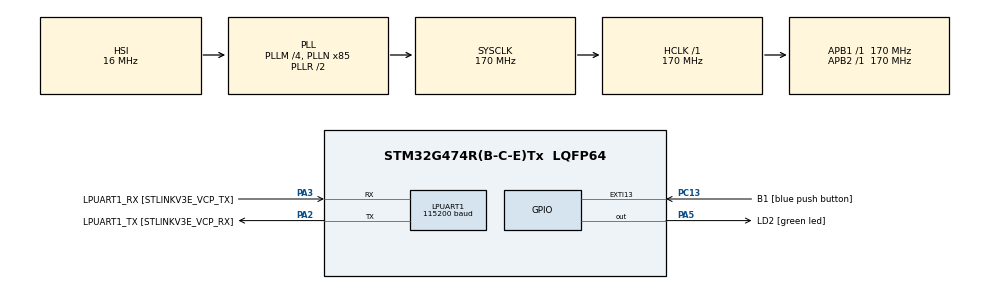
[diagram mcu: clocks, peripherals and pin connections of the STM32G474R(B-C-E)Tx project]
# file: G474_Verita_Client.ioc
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ADC1.Channel-0\#ChannelRegularConversion=ADC_CHANNEL_TEMPSENSOR_ADC1
ADC1.Channel-2\#ChannelRegularConversion=ADC_CHANNEL_VREFINT
ADC1.ClockPrescaler=ADC_CLOCK_ASYNC_DIV12
ADC1.ContinuousConvMode=ENABLE
ADC1.DMAContinuousRequests=ENABLE
ADC1.NbrOfConversion=2
ADC1.NbrOfConversionFlag=1
ADC1.OffsetNumber-0\#ChannelRegularConversion=ADC_OFFSET_NONE
ADC1.OffsetNumber-2\#ChannelRegularConversion=ADC_OFFSET_NONE
ADC1.Rank-0\#ChannelRegularConversion=1
ADC1.Rank-2\#ChannelRegularConversion=2
ADC1.SamplingTime-0\#ChannelRegularConversion=ADC_SAMPLETIME_247CYCLES_5
ADC1.SamplingTime-2\#ChannelRegularConversion=ADC_SAMPLETIME_47CYCLES_5
ADC1.master=1
Dma.ADC1.0.Direction=DMA_PERIPH_TO_MEMORY
Dma.ADC1.0.EventEnable=DISABLE
Dma.ADC1.0.Instance=DMA1_Channel1
Dma.ADC1.0.MemDataAlignment=DMA_MDATAALIGN_HALFWORD
Dma.ADC1.0.MemInc=DMA_MINC_ENABLE
Dma.ADC1.0.Mode=DMA_CIRCULAR
Dma.ADC1.0.PeriphDataAlignment=DMA_PDATAALIGN_HALFWORD
Dma.ADC1.0.PeriphInc=DMA_PINC_DISABLE
Dma.ADC1.0.Polarity=HAL_DMAMUX_REQ_GEN_RISING
Dma.ADC1.0.Priority=DMA_PRIORITY_MEDIUM
Dma.ADC1.0.RequestNumber=1
Dma.ADC1.0.SignalID=NONE
Dma.ADC1.0.SyncEnable=DISABLE
Dma.ADC1.0.SyncPolarity=HAL_DMAMUX_SYNC_NO_EVENT
Dma.ADC1.0.SyncRequestNumber=1
Dma.ADC1.0.SyncSignalID=NONE
Dma.Request0=ADC1
LPUART1.BaudRate=115200
LPUART1.WordLength=UART_WORDLENGTH_8B
Mcu.Family=STM32G4
Mcu.Name=STM32G474R(B-C-E)Tx
Mcu.Package=LQFP64
NVIC.ADC1_2_IRQn=true\:0\:0\:false\:false\:true\:true\:true\:true
NVIC.DMA1_Channel1_IRQn=true\:0\:0\:false\:false\:true\:false\:true\:true
NVIC.EXTI15_10_IRQn=true\:0\:0\:false\:false\:true\:true\:true\:true
NVIC.PriorityGroup=NVIC_PRIORITYGROUP_4
PA13.GPIO_Label=T_SWDIO
PA13.Mode=Serial_Wire
PA13.Signal=SYS_JTMS-SWDIO
PA14.GPIO_Label=T_SWCLK
PA14.Mode=Serial_Wire
PA14.Signal=SYS_JTCK-SWCLK
PA2.GPIO_Label=LPUART1_TX [STLINKV3E_VCP_RX]
PA2.Mode=Asynchronous
PA2.Signal=LPUART1_TX
PA3.GPIO_Label=LPUART1_RX [STLINKV3E_VCP_TX]
PA3.Mode=Asynchronous
PA3.Signal=LPUART1_RX
PA5.GPIO_Label=LD2 [green led]
PA5.Signal=GPIO_Output
PB3.GPIO_Label=T_SWO
PB3.Signal=SYS_JTDO-SWO
PC13.GPIO_Label=B1 [blue push button]
PC13.Signal=GPXTI13
PC14-OSC32_IN.Mode=LSE-External-Oscillator
PC14-OSC32_IN.Signal=RCC_OSC32_IN
PC15-OSC32_OUT.Mode=LSE-External-Oscillator
PC15-OSC32_OUT.Signal=RCC_OSC32_OUT
PF0-OSC_IN.Mode=HSE-External-Oscillator
PF0-OSC_IN.Signal=RCC_OSC_IN
PF1-OSC_OUT.Mode=HSE-External-Oscillator
PF1-OSC_OUT.Signal=RCC_OSC_OUT
ProjectManager.HeapSize=0x200
ProjectManager.StackSize=0x400
ProjectManager.TargetToolchain=STM32CubeIDE
RCC.ADC12Freq_Value=170000000
RCC.ADC345Freq_Value=170000000
RCC.AHBFreq_Value=170000000
RCC.APB1Freq_Value=170000000
RCC.APB1TimFreq_Value=170000000
RCC.APB2Freq_Value=170000000
RCC.APB2TimFreq_Value=170000000
RCC.CortexFreq_Value=170000000
RCC.EXTERNAL_CLOCK_VALUE=12288000
RCC.HCLKFreq_Value=170000000
RCC.HSE_VALUE=24000000
RCC.HSI48_VALUE=48000000
RCC.HSI_VALUE=16000000
RCC.PLLM=RCC_PLLM_DIV4
RCC.PLLN=85
RCC.RTCClockSelection=RCC_RTCCLKSOURCE_LSE
RCC.SYSCLKFreq_VALUE=170000000
RCC.SYSCLKSource=RCC_SYSCLKSOURCE_PLLCLK
RCC.USBFreq_Value=170000000
RCC.VCOOutputFreq_Value=340000000
VP_ADC1_TempSens_Input.Mode=IN-TempSens
VP_ADC1_Vref_Input.Mode=IN-Vrefint
VP_SYS_VS_DBSignals.Mode=DisableDeadBatterySignals
board=NUCLEO-G474RE

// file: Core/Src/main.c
/* USER CODE BEGIN Header */
/**
  ******************************************************************************
  * @file           : main.c
  * @brief          : Main program body
  ******************************************************************************
  * @attention
  *
  * Copyright (c) 2023 STMicroelectronics.
  * All rights reserved.
  *
  * This software is licensed under terms that can be found in the LICENSE file
  * in the root directory of this software component.
  * If no LICENSE file comes with this software, it is provided AS-IS.
  *
  ******************************************************************************
  */

  /* ================ VERITA: Nucleo G474RE Tester ====  --->>>  Client  >>>----
   *
   * Author: owl_hor, FRAB#7 @FIBO KMUTT
   * Advisor: Pittiwut Teerakittikul, Ph.D & Puttinart Archewawanich (AlphaP2712)
   * --------------------------------------------------------------------------
   *  ===================== peripheral Usage  =====================
   *  - [ADC1]   -> Read MCU's temperature
   *  - [LPUART1] -> Send Results to UART Console
   *
   *  	(28 July 2023)
   *	BETA - BETA - BETA - BETA - BETA - BETA - BETA - BETA - BETA - BETA
   *	This script is still beta, Some hole can be occurred.
   *	Verita PTC is not completely implemented in this script.
   *
   */
/* USER CODE END Header */
#include "main.h"

/* USER CODE BEGIN Includes */
#include <stdio.h>
#include <string.h>

#include "gpio_testscript.h"
#include "Verita_PTC.h"
/* USER CODE END Includes */

/* USER CODE BEGIN PD */
#define FIRMWARE_VER 0xBB261223 // 01 00 03 23  -- ver day month year 32-bit

#define fakeoffset 6 // MCU Temp Celcius offset fake
/* USER CODE END PD */

ADC_HandleTypeDef hadc1;
DMA_HandleTypeDef hdma_adc1;

UART_HandleTypeDef hlpuart1;

/* USER CODE BEGIN PV */

//// ------------ ADC -----------
typedef struct{
	ADC_ChannelConfTypeDef Confix;
	uint16_t datt;
}ADCStructure;

ADCStructure ADCChannell[1];

uint16_t cputmpraw = 0;
float cputempCC = 0;

///// ----  ADC DMA --------
union _ADCRawread{
	uint16_t u16[14];
	uint32_t u32[7];
}ADCRawread;
//uint32_t ADCRawreadc[10] = {0};

uint16_t TSCALT1 = TEMPSENSOR_CAL1_TEMP;
uint16_t TSCALT2 = TEMPSENSOR_CAL2_TEMP;
uint16_t TCAL1; // read the ST factory calibrate value from the address = *TEMPSENSOR_CAL1_ADDR
uint16_t TCAL2;

//////// -- General Var ---------
uint8_t bluecounter = 0;
uint8_t counter_flagger = 0; // countif testscript is runned
uint8_t cnt_allpass = 0;
uint32_t timestamp_one = 0;
uint32_t timestamp_selftestdelay = 0;

//// --------- GPIO Read Buffer --------
uint8_t flag_gpioselftest = 0;

//// record GPIO setting before run testscript, set back after finish test
uint32_t gpio_rec_mode[3] = {0};
uint32_t gpio_rec_pupdr[3] = {0};

//// lists All port - pin to inspect first // avoid special pin like osilators / UART
//// GPIO_PIN_x is in bit position format (0 2 4 8 16 ...) which loss if stored in that form and log2() to calculate back
uint16_t List_GPIOA[] = {0,1,    4,5,6,7,8,9,10,11,12,      15,  20}; // 2,3 STLK RXTX / / 13 14 TMS TCK /
uint16_t List_GPIOB[] = {0,1,2,  4,5,6,7,8,9,10,11,12,13,14,15,  20}; // 3 SWO,
uint16_t List_GPIOC[] = {0,1,2,3,4,5,6,7,8,9,10,11,12,13,        20}; // 14 15 OSC

char WR_A_PUPDR[40] = "\r\nA_PUR: "; ////
char WR_B_PUPDR[40] = "\r\nB_PUR: ";
char WR_C_PUPDR[40] = "\r\nC_PUR: ";
char WR_A_OPP[40]   = "\r\nA_OPP: "; ////
char WR_B_OPP[40]   = "\r\nB_OPP: ";
char WR_C_OPP[40]   = "\r\nC_OPP: ";
char WR_A_OOD[40]   = "\r\nA_OOD: ";
char WR_B_OOD[40]   = "\r\nB_OOD: ";
char WR_C_OOD[40]   = "\r\nC_OOD: ";

//// --------- ============== Verita PTC Register ============== ------------
Verita_Register_Bank VR_Cli;
uint8_t RxBufferMtCl[RxbufferSize_VRT] = {0}; // Recieved packet buffer
VRTPTC_StatusTypedef rslt;

//// ----------------------  UART Buffer  -------------------
char uartTXBf[100] = {0};
/* USER CODE END PV */

void SystemClock_Config(void);
static void MX_GPIO_Init(void);
static void MX_DMA_Init(void);
static void MX_LPUART1_UART_Init(void);
static void MX_ADC1_Init(void);
/* USER CODE BEGIN PFP */
void CPUTemprdINIT();
uint16_t CPUTempread();
float ADCTVoltar(uint16_t btt, float vref);
float TempEquat(float Vs);
float Tempequat_G4(int16_t data, float vref);

void Compare_pin_32(uint32_t raw32, uint16_t *Lista_GPIOx, uint8_t gpst,char *outchar);
void resetgpio_char();
void CheckAllPass();
/* USER CODE END PFP */

int main(void)
{

  /* MCU Configuration--------------------------------------------------------*/

  /* Reset of all peripherals, Initializes the Flash interface and the Systick. */
  HAL_Init();

  /* Configure the system clock */
  SystemClock_Config();

  /* Initialize all configured peripherals */
  MX_GPIO_Init();
  MX_DMA_Init();
  MX_LPUART1_UART_Init();
  MX_ADC1_Init();
  /* USER CODE BEGIN 2 */
  char temp[]="\r\n----------------- G474_Verita_Client --------------------\r\n";
  HAL_UART_Transmit(&hlpuart1, (uint8_t*)temp, strlen(temp),10);

  sprintf(uartTXBf, "Firmware ver: %08X \r\n ", FIRMWARE_VER);
  HAL_UART_Transmit(&hlpuart1, (uint8_t*)uartTXBf, strlen(uartTXBf),10);

  //// ADC Start --------------------------
  //CPUTemprdINIT();
  //HAL_ADCEx_Calibration_Start(&hadc1, ADC_SINGLE_ENDED);

  HAL_ADC_Start_DMA(&hadc1, ADCRawread.u32, 6);
  //HAL_ADC_Start_DMA(&hadc1, ADCRawreadc, 6);

  //// ------------- UART Recieve : Circular DMA here--------------------------
  //HAL_UART_Receive_DMA(&huart6, &RxBufferMtCl[0], RxbufferSize_VRT);
  VR_Cli.Mark.FirmwareVer = FIRMWARE_VER;

  /* USER CODE END 2 */

  /* Infinite loop */
  /* USER CODE BEGIN WHILE */
  while (1)
  {

	  if(HAL_GetTick() >= timestamp_one){
	  		  timestamp_one += 1000;
	  		  HAL_GPIO_TogglePin(LD2_GPIO_Port, LD2_Pin);

	  		  //cputmpraw = CPUTempread();

	  		  sprintf(uartTXBf, "\r\n - - - - - - - - VERITA - - - G474RE - - - - - BETA - - - - - -\r\n");
	  		  HAL_UART_Transmit(&hlpuart1, (uint8_t*)uartTXBf, strlen(uartTXBf),10);

	  		  sprintf(uartTXBf, "Vrefint : %4d = %.2f V \r\n", (uint16_t)ADCRawread.u16[1], ADCTVoltar(ADCRawread.u16[1], 3.32));
	  		  HAL_UART_Transmit(&hlpuart1, (uint8_t*)uartTXBf, strlen(uartTXBf),10);
	  		  //// CPU temp reoprt // incomplete, odd value, formula
	  		  sprintf(uartTXBf, "TempMCU : %4d = %.2f C , (+ %d offset)  \r\n ", (uint16_t)ADCRawread.u16[0],
	  				Tempequat_G4(ADCRawread.u16[0], 3.3), fakeoffset);
	  		  HAL_UART_Transmit(&hlpuart1, (uint8_t*)uartTXBf, strlen(uartTXBf),10);
	  		  ////

	  		  //// ALL PASS report ////
			  //// Print GPIO Test Result
			  if(counter_flagger){
				  if(cnt_allpass >= 9){//// there're 9 pass

					  sprintf(uartTXBf, "\r\n+++ GPIO ALL PASS +++\r\n"); HAL_UART_Transmit(&hlpuart1, (uint8_t*)uartTXBf, strlen(uartTXBf),10);
				  }else{
					  sprintf(uartTXBf, "\r\n--- GPIO unhealthy ---\r\n"); HAL_UART_Transmit(&hlpuart1, (uint8_t*)uartTXBf, strlen(uartTXBf),10);
				  }

				  sprintf(uartTXBf, WR_A_PUPDR); HAL_UART_Transmit(&hlpuart1, (uint8_t*)uartTXBf, strlen(uartTXBf),10);
				  sprintf(uartTXBf, WR_A_OPP); HAL_UART_Transmit(&hlpuart1, (uint8_t*)uartTXBf, strlen(uartTXBf),10);
				  sprintf(uartTXBf, WR_A_OOD); HAL_UART_Transmit(&hlpuart1, (uint8_t*)uartTXBf, strlen(uartTXBf),10);
				  sprintf(uartTXBf, WR_B_PUPDR); HAL_UART_Transmit(&hlpuart1, (uint8_t*)uartTXBf, strlen(uartTXBf),10);
				  sprintf(uartTXBf, WR_B_OPP); HAL_UART_Transmit(&hlpuart1, (uint8_t*)uartTXBf, strlen(uartTXBf),10);
				  sprintf(uartTXBf, WR_B_OOD); HAL_UART_Transmit(&hlpuart1, (uint8_t*)uartTXBf, strlen(uartTXBf),10);
				  sprintf(uartTXBf, WR_C_PUPDR); HAL_UART_Transmit(&hlpuart1, (uint8_t*)uartTXBf, strlen(uartTXBf),10);
				  sprintf(uartTXBf, WR_C_OPP); HAL_UART_Transmit(&hlpuart1, (uint8_t*)uartTXBf, strlen(uartTXBf),10);
				  sprintf(uartTXBf, WR_C_OOD); HAL_UART_Transmit(&hlpuart1, (uint8_t*)uartTXBf, strlen(uartTXBf),10);
			  }
	  		  ////

	  		 }// timestamp_one

	  	  if(flag_gpioselftest){
	  		  //// delay wait for button release
	  		  if (HAL_GetTick() >= timestamp_selftestdelay){

	  			  VR_Cli.Mark.Flag_ger = VRF_GPIO_Runalltest;
	  			  flag_gpioselftest = 0;
	  		  }
	  	  } //// flag_gpioselftest

	  	//// Flag run all test
	  if(VR_Cli.Mark.Flag_ger == VRF_GPIO_Runalltest){
		  counter_flagger++;

		  ////record default GPIO setup before modified in testscript
		  gpio_rec_mode[0] = GPIOA->MODER;
		  gpio_rec_pupdr[0] = GPIOA->PUPDR;

		  //// Run GPIO Testscript all here or run before While
		  VR_Cli.Mark.PA_PUPDR = gpio_selftest_input_pupdr_1(GPIOA, List_GPIOA);
		  VR_Cli.Mark.PB_PUPDR = gpio_selftest_input_pupdr_1(GPIOB, List_GPIOB);
		  VR_Cli.Mark.PC_PUPDR = gpio_selftest_input_pupdr_1(GPIOC, List_GPIOC);

		  HAL_Delay(5);

		  VR_Cli.Mark.PA_OUT_PP = gpio_selftest_output_pp_1(GPIOA, List_GPIOA);
		  VR_Cli.Mark.PB_OUT_PP = gpio_selftest_output_pp_1(GPIOB, List_GPIOB);
		  VR_Cli.Mark.PC_OUT_PP = gpio_selftest_output_pp_1(GPIOC, List_GPIOC);

		  HAL_Delay(5);

		  VR_Cli.Mark.PA_OUT_OD = gpio_selftest_output_od_1(GPIOA, List_GPIOA);
		  VR_Cli.Mark.PB_OUT_OD = gpio_selftest_output_od_1(GPIOB, List_GPIOB);
		  VR_Cli.Mark.PC_OUT_OD = gpio_selftest_output_od_1(GPIOC, List_GPIOC);

		  //// revert back, enable to send UART again after crashed in testscript
		  GPIOA->MODER = gpio_rec_mode[0] ;
		  GPIOA->PUPDR = gpio_rec_pupdr[0] ;

		  //// clear previous buffer
		  resetgpio_char();
		  ////Compare_pin()
		  Compare_pin_32(VR_Cli.Mark.PA_PUPDR, List_GPIOA, 0, WR_A_PUPDR);
		  Compare_pin_32(VR_Cli.Mark.PA_OUT_PP, List_GPIOA, 0, WR_A_OPP);
		  Compare_pin_32(VR_Cli.Mark.PA_OUT_OD, List_GPIOA, 0, WR_A_OOD);

		  Compare_pin_32(VR_Cli.Mark.PB_PUPDR, List_GPIOB, 1,  WR_B_PUPDR);
		  Compare_pin_32(VR_Cli.Mark.PB_OUT_PP, List_GPIOB, 1, WR_B_OPP);
		  Compare_pin_32(VR_Cli.Mark.PB_OUT_OD, List_GPIOB, 1, WR_B_OOD);

		  Compare_pin_32(VR_Cli.Mark.PC_PUPDR, List_GPIOC, 2, WR_C_PUPDR);
		  Compare_pin_32(VR_Cli.Mark.PC_OUT_PP, List_GPIOC, 2, WR_C_OPP);
		  Compare_pin_32(VR_Cli.Mark.PC_OUT_OD, List_GPIOC, 2, WR_C_OOD);

		  HAL_Delay(10);

		  CheckAllPass();

		  //Tx_UART_Verita_Command(&huart6, VRC_Next, 0x00);
		  VR_Cli.Mark.Flag_ger = VRF_SendALLTestData;
		  VR_Cli.Mark.Flag_ger = 0;

	  	 }//// Flag run all test

    /* USER CODE END WHILE */

  }
}

void SystemClock_Config(void)
{
  RCC_OscInitTypeDef RCC_OscInitStruct = {0};
  RCC_ClkInitTypeDef RCC_ClkInitStruct = {0};

  /** Configure the main internal regulator output voltage
  */
  HAL_PWREx_ControlVoltageScaling(PWR_REGULATOR_VOLTAGE_SCALE1_BOOST);

  /** Initializes the RCC Oscillators according to the specified parameters
  * in the RCC_OscInitTypeDef structure.
  */
  RCC_OscInitStruct.OscillatorType = RCC_OSCILLATORTYPE_HSI;
  RCC_OscInitStruct.HSIState = RCC_HSI_ON;
  RCC_OscInitStruct.HSICalibrationValue = RCC_HSICALIBRATION_DEFAULT;
  RCC_OscInitStruct.PLL.PLLState = RCC_PLL_ON;
  RCC_OscInitStruct.PLL.PLLSource = RCC_PLLSOURCE_HSI;
  RCC_OscInitStruct.PLL.PLLM = RCC_PLLM_DIV4;
  RCC_OscInitStruct.PLL.PLLN = 85;
  RCC_OscInitStruct.PLL.PLLP = RCC_PLLP_DIV2;
  RCC_OscInitStruct.PLL.PLLQ = RCC_PLLQ_DIV2;
  RCC_OscInitStruct.PLL.PLLR = RCC_PLLR_DIV2;
  if (HAL_RCC_OscConfig(&RCC_OscInitStruct) != HAL_OK)
  {
    Error_Handler();
  }

  /** Initializes the CPU, AHB and APB buses clocks
  */
  RCC_ClkInitStruct.ClockType = RCC_CLOCKTYPE_HCLK|RCC_CLOCKTYPE_SYSCLK
                              |RCC_CLOCKTYPE_PCLK1|RCC_CLOCKTYPE_PCLK2;
  RCC_ClkInitStruct.SYSCLKSource = RCC_SYSCLKSOURCE_PLLCLK;
  RCC_ClkInitStruct.AHBCLKDivider = RCC_SYSCLK_DIV1;
  RCC_ClkInitStruct.APB1CLKDivider = RCC_HCLK_DIV1;
  RCC_ClkInitStruct.APB2CLKDivider = RCC_HCLK_DIV1;

  if (HAL_RCC_ClockConfig(&RCC_ClkInitStruct, FLASH_LATENCY_4) != HAL_OK)
  {
    Error_Handler();
  }
}

static void MX_ADC1_Init(void)
{

  ADC_MultiModeTypeDef multimode = {0};
  ADC_ChannelConfTypeDef sConfig = {0};

  /** Common config
  */
  hadc1.Instance = ADC1;
  hadc1.Init.ClockPrescaler = ADC_CLOCK_ASYNC_DIV12;
  hadc1.Init.Resolution = ADC_RESOLUTION_12B;
  hadc1.Init.DataAlign = ADC_DATAALIGN_RIGHT;
  hadc1.Init.GainCompensation = 0;
  hadc1.Init.ScanConvMode = ADC_SCAN_ENABLE;
  hadc1.Init.EOCSelection = ADC_EOC_SINGLE_CONV;
  hadc1.Init.LowPowerAutoWait = DISABLE;
  hadc1.Init.ContinuousConvMode = ENABLE;
  hadc1.Init.NbrOfConversion = 2;
  hadc1.Init.DiscontinuousConvMode = DISABLE;
  hadc1.Init.ExternalTrigConv = ADC_SOFTWARE_START;
  hadc1.Init.ExternalTrigConvEdge = ADC_EXTERNALTRIGCONVEDGE_NONE;
  hadc1.Init.DMAContinuousRequests = ENABLE;
  hadc1.Init.Overrun = ADC_OVR_DATA_PRESERVED;
  hadc1.Init.OversamplingMode = DISABLE;
  if (HAL_ADC_Init(&hadc1) != HAL_OK)
  {
    Error_Handler();
  }

  /** Configure the ADC multi-mode
  */
  multimode.Mode = ADC_MODE_INDEPENDENT;
  if (HAL_ADCEx_MultiModeConfigChannel(&hadc1, &multimode) != HAL_OK)
  {
    Error_Handler();
  }

  /** Configure Regular Channel
  */
  sConfig.Channel = ADC_CHANNEL_TEMPSENSOR_ADC1;
  sConfig.Rank = ADC_REGULAR_RANK_1;
  sConfig.SamplingTime = ADC_SAMPLETIME_247CYCLES_5;
  sConfig.SingleDiff = ADC_SINGLE_ENDED;
  sConfig.OffsetNumber = ADC_OFFSET_NONE;
  sConfig.Offset = 0;
  if (HAL_ADC_ConfigChannel(&hadc1, &sConfig) != HAL_OK)
  {
    Error_Handler();
  }

  /** Configure Regular Channel
  */
  sConfig.Channel = ADC_CHANNEL_VREFINT;
  sConfig.Rank = ADC_REGULAR_RANK_2;
  sConfig.SamplingTime = ADC_SAMPLETIME_47CYCLES_5;
  if (HAL_ADC_ConfigChannel(&hadc1, &sConfig) != HAL_OK)
  {
    Error_Handler();
  }

}

static void MX_LPUART1_UART_Init(void)
{

  hlpuart1.Instance = LPUART1;
  hlpuart1.Init.BaudRate = 115200;
  hlpuart1.Init.WordLength = UART_WORDLENGTH_8B;
  hlpuart1.Init.StopBits = UART_STOPBITS_1;
  hlpuart1.Init.Parity = UART_PARITY_NONE;
  hlpuart1.Init.Mode = UART_MODE_TX_RX;
  hlpuart1.Init.HwFlowCtl = UART_HWCONTROL_NONE;
  hlpuart1.Init.OneBitSampling = UART_ONE_BIT_SAMPLE_DISABLE;
  hlpuart1.Init.ClockPrescaler = UART_PRESCALER_DIV1;
  hlpuart1.AdvancedInit.AdvFeatureInit = UART_ADVFEATURE_NO_INIT;
  if (HAL_UART_Init(&hlpuart1) != HAL_OK)
  {
    Error_Handler();
  }
  if (HAL_UARTEx_SetTxFifoThreshold(&hlpuart1, UART_TXFIFO_THRESHOLD_1_8) != HAL_OK)
  {
    Error_Handler();
  }
  if (HAL_UARTEx_SetRxFifoThreshold(&hlpuart1, UART_RXFIFO_THRESHOLD_1_8) != HAL_OK)
  {
    Error_Handler();
  }
  if (HAL_UARTEx_DisableFifoMode(&hlpuart1) != HAL_OK)
  {
    Error_Handler();
  }

}

static void MX_DMA_Init(void)
{

  /* DMA controller clock enable */
  __HAL_RCC_DMAMUX1_CLK_ENABLE();
  __HAL_RCC_DMA1_CLK_ENABLE();

  /* DMA interrupt init */
  /* DMA1_Channel1_IRQn interrupt configuration */
  HAL_NVIC_SetPriority(DMA1_Channel1_IRQn, 0, 0);
  HAL_NVIC_EnableIRQ(DMA1_Channel1_IRQn);

}

static void MX_GPIO_Init(void)
{
  GPIO_InitTypeDef GPIO_InitStruct = {0};

  /* GPIO Ports Clock Enable */
  __HAL_RCC_GPIOC_CLK_ENABLE();
  __HAL_RCC_GPIOF_CLK_ENABLE();
  __HAL_RCC_GPIOA_CLK_ENABLE();
  __HAL_RCC_GPIOB_CLK_ENABLE();

  /*Configure GPIO pin Output Level */
  HAL_GPIO_WritePin(LD2_GPIO_Port, LD2_Pin, GPIO_PIN_RESET);

  /*Configure GPIO pin : B1_Pin */
  GPIO_InitStruct.Pin = B1_Pin;
  GPIO_InitStruct.Mode = GPIO_MODE_IT_RISING;
  GPIO_InitStruct.Pull = GPIO_NOPULL;
  HAL_GPIO_Init(B1_GPIO_Port, &GPIO_InitStruct);

  /*Configure GPIO pin : LD2_Pin */
  GPIO_InitStruct.Pin = LD2_Pin;
  GPIO_InitStruct.Mode = GPIO_MODE_OUTPUT_PP;
  GPIO_InitStruct.Pull = GPIO_NOPULL;
  GPIO_InitStruct.Speed = GPIO_SPEED_FREQ_LOW;
  HAL_GPIO_Init(LD2_GPIO_Port, &GPIO_InitStruct);

  /* EXTI interrupt init*/
  HAL_NVIC_SetPriority(EXTI15_10_IRQn, 0, 0);
  HAL_NVIC_EnableIRQ(EXTI15_10_IRQn);

}

/* USER CODE BEGIN 4 */
//void CPUTemprdINIT(){
//	ADCChannell[0].Confix.Channel = ADC_CHANNEL_TEMPSENSOR_ADC1;
//	ADCChannell[0].Confix.Rank = 1;
//	ADCChannell[0].Confix.SamplingTime = ADC_SAMPLETIME_12CYCLES_5;
//}
//
//uint16_t CPUTempread(){
//	uint16_t tmpbf;
//
//	HAL_ADC_ConfigChannel(&hadc1, &ADCChannell[0].Confix); //
//
//	HAL_ADC_Start(&hadc1);
//
//	if(HAL_ADC_PollForConversion(&hadc1, 10)==HAL_OK) //10mSec timeout
//		{
//			//ReadData to confix channel
//			tmpbf = HAL_ADC_GetValue(&hadc1);
//		}
//
//	HAL_ADC_Stop(&hadc1);
//
//	return tmpbf;
//}

float ADCTVoltar(uint16_t btt, float vref){
	// convert 0-4096 ADC bit -> 0-Vref from device(3.3V, 3.25V)
	return (btt /4096.0) * vref;
}

//float TempEquat(float Vs){
//	//Vs = V tmp read , V25= 0.76V, Avg_slope = 2.5 mV
//	return ((Vs - 0.76)/(0.0025)) + 25.0; //2.5*0.001
//}

float Tempequat_G4(int16_t data, float vref){
	/* Get equation from RM0440 R.7, 21.4.31 Temp sensor
	 * */
	static int16_t TSCALT1 = TEMPSENSOR_CAL1_TEMP;
	static int16_t TSCALT2 = 110;
	int16_t TCAL1 = (int16_t) *TEMPSENSOR_CAL1_ADDR; // 1037 read the ST factory calibrate value from the address
	int16_t TCAL2 = (int16_t) *TEMPSENSOR_CAL2_ADDR; // 1378

	float set1 = ((TSCALT2 - TSCALT1)*1.0) / ((TCAL2 - TCAL1)*1.0) ;
	float set2 = ( data * (vref/3.0) )-TCAL1;

	return (set1 * set2)+ 30 + fakeoffset; //// + 12 is fake offset
}
//// GPIO Testscript
void Compare_pin_32(uint32_t raw32, uint16_t *Lista_GPIOx, uint8_t gpst,char *outchar){
	/*  @brief compare uint32_t data given from gpio_testscript then compared to find the same pair
	 * 			(According to the gpio_testscript functions, if the read value of GPIO_input during
	 * 			force output(Push pull, open drain-pullup, Pullup-down)are the same,
	 * 			That pin is suspected to got some problem and need to be inspected)
	 *
	 * 			 and record the suspected pin into char for report in Terminal, display
	 * 	@param raw32       rawuint32_t data given from gpio_testscript functions
	 * 	@param Lista_GPIOx List of GPIOs bank need to be checked
	 * 	@param gpst        select report type [0 - PA_] [1 - PB_] [2 - PC_]
	 * 	@param outchar     char for record the compare result report
	 * */
	uint16_t raw32_N = raw32 & 0xFFFF;
	uint16_t raw32_P = (raw32 >> 16) & 0xFFFF;
	uint8_t iaa, iab, cntr_w = 0;
	char aadd[6];

	for(register int i = 0;i < 16;i++){
		if(Lista_GPIOx[i] >= 20){break;}

		iaa = (raw32_N >> Lista_GPIOx[i]) & 0x01;
		iab = (raw32_P >> Lista_GPIOx[i]) & 0x01;
		 if(iaa == iab){

			 cntr_w++; // count if match

			 //// add problem pin
			 switch(gpst){
			 default:
			 case 0: // A
				 sprintf(aadd, "PA%d", (uint8_t)Lista_GPIOx[i]); //
				 break;
			 case 1: // B
			 	 sprintf(aadd, "PB%d", (uint8_t)Lista_GPIOx[i]); //
			 	 break;
			 case 2: // C
			 	 sprintf(aadd, "PC%d", (uint8_t)Lista_GPIOx[i]); //
			 	 break;

			 }
			 strncat(outchar, aadd, 4);

			 //// add High, Low
			 if(iaa == 1){
				 sprintf(aadd, "_H");
			 }else if(iaa == 0){
				 sprintf(aadd, "_L");
			 }
			 strncat(outchar, aadd, 2);

			 //// add blank
			 sprintf(aadd, " ");
			 strncat(outchar, aadd, 1);
		 }
	}

	if(!cntr_w){
		sprintf(aadd, "_PASS");
		strncat(outchar, aadd, 7);
	}
}

//// GPIO Testscript
void resetgpio_char(){

	sprintf(WR_A_PUPDR, "\r\nA_PUR: ");
	sprintf(WR_B_PUPDR, "\r\nB_PUR: ");
	sprintf(WR_C_PUPDR, "\r\nC_PUR: ");

	sprintf(WR_A_OPP, "\r\nA_OPP: ");
	sprintf(WR_B_OPP, "\r\nB_OPP: ");
	sprintf(WR_C_OPP, "\r\nC_OPP: ");

	sprintf(WR_A_OOD, "\r\nA_OOD: ");
	sprintf(WR_B_OOD, "\r\nB_OOD: ");
	sprintf(WR_C_OOD, "\r\nC_OOD: ");
}

//// GPIO Testscript
void CheckAllPass(){
	cnt_allpass = 0; // init reset

	//// lazy Cat cat chekallpass
	////  \r,\n count as 1
	if(WR_A_PUPDR[9] == 95){cnt_allpass++;} //// 95 = "_"
	if(WR_B_PUPDR[9] == 95){cnt_allpass++;}
	if(strlen(WR_C_PUPDR) <= 16 && WR_C_PUPDR[10] == 67){cnt_allpass++;}// PC_13

	if(WR_A_OPP[9] == 95){cnt_allpass++;}
	if(WR_B_OPP[9] == 95){cnt_allpass++;}
	if(WR_C_OPP[9] == 95){cnt_allpass++;}

	if(WR_A_OOD[9] == 95){cnt_allpass++;}
	if(WR_B_OOD[9] == 95){cnt_allpass++;}
	if(WR_C_OOD[9] == 95){cnt_allpass++;}

}

//// ----------------GPIO_EXTI_Callback-----------------------------------------

void HAL_GPIO_EXTI_Callback(uint16_t GPIO_Pin){
	if(GPIO_Pin == GPIO_PIN_13){
		bluecounter++;
		bluecounter%=4;

		flag_gpioselftest = 1;
		timestamp_selftestdelay = HAL_GetTick() + 600;
		}
}
/* USER CODE END 4 */

void Error_Handler(void)
{
  __disable_irq();
  while (1)
  {
  }
}
